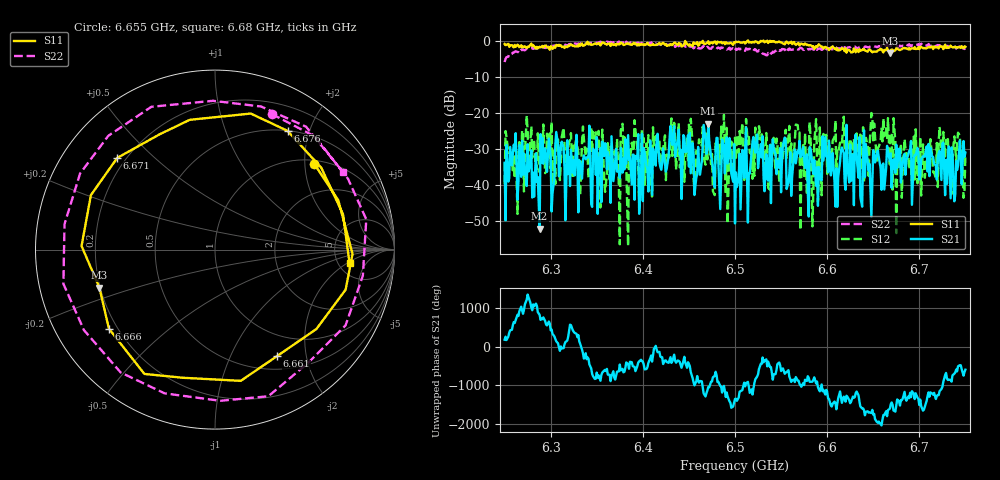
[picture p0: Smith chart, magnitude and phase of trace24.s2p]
# Hz S RI R 50
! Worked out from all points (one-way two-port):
!   401 points, 6.25 GHz to 6.75 GHz, reference 50 ohm
!   highest |S21| = -23.01 dB at 6.471 GHz (marker M1); lowest = -52.2 dB at 6.288 GHz (marker M2)
!   lowest |S11| = -3.4 dB at 6.668 GHz (marker M3), VSWR 5.21, Z = 9.83 - j7.72 ohm
!   |S11| at or under -10 dB: nowhere
!   |S22| runs from -5.9 to -0.3 dB; largest |S21 - S12| = 0.13
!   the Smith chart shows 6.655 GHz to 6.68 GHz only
!   S11 on the Smith chart (normalised r, x): 6.655 GHz: 1.09, +2.24; 6.661 GHz: 0.68, -1.52; 6.666 GHz: 0.17, -0.32; 6.671 GHz: 0.17, +0.39; 6.676 GHz: 0.50, +1.67; 6.68 GHz: 6.34, -2.17
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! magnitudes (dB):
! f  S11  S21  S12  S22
! 6.25 GHz  -0.9  -33.9  -39.8  -5.9
! 6.288 GHz  -1.7  -52.2  -36.6  -1.7
! 6.334 GHz  -0.8  -38.3  -28.1  -0.5
! 6.418 GHz  -0.6  -33.6  -27.6  -0.7
! 6.471 GHz  -0.1  -23.0  -26.4  -1.9
! 6.5 GHz  -0.5  -50.8  -26.9  -2.8
! 6.521 GHz  -0.5  -29.5  -37.6  -2.6
! 6.534 GHz  -0.1  -31.6  -25.6  -4.1
! 6.568 GHz  -0.7  -30.6  -23.5  -2.4
! 6.572 GHz  -0.8  -32.0  -36.5  -2.0
! 6.584 GHz  -1.6  -34.2  -51.6  -2.1
! 6.61 GHz  -2.6  -35.4  -36.4  -1.9
! 6.615 GHz  -2.4  -30.6  -28.9  -2.2
! 6.655 GHz  -2.7  -30.5  -29.7  -1.7
! 6.661 GHz  -3.3  -34.1  -21.6  -1.5
! 6.666 GHz  -2.6  -30.8  -21.5  -1.4
! 6.668 GHz  -3.4  -33.5  -34.4  -1.3
! 6.671 GHz  -2.5  -34.5  -41.4  -1.4
! 6.676 GHz  -2.2  -35.3  -33.1  -1.6
! 6.68 GHz  -2.5  -39.4  -28.7  -1.6
! 6.729 GHz  -2.0  -33.1  -27.6  -1.4
! 6.75 GHz  -1.7  -31.1  -31.9  -2.1
